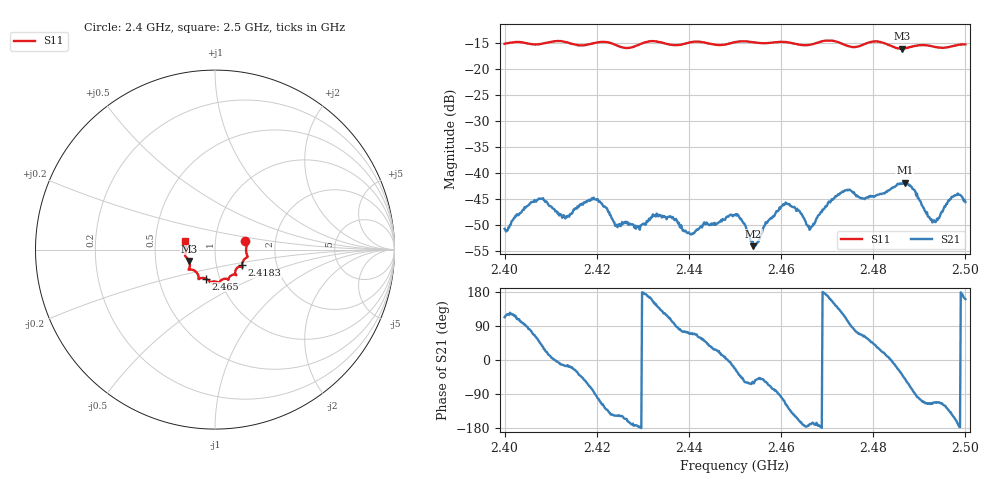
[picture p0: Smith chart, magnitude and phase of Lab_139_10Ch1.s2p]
# Hz S RI R 50
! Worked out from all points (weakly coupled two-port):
!   601 points, 2.4 GHz to 2.5 GHz, reference 50 ohm
!   highest |S21| = -41.89 dB at 2.4868 GHz (marker M1); lowest = -54.1 dB at 2.454 GHz (marker M2)
!   lowest |S11| = -16.1 dB at 2.4862 GHz (marker M3), VSWR 1.37, Z = 37.2 - j4.82 ohm
!   |S11| at or under -10 dB: start of sweep to end of sweep
!   S12 and S22 are empty: the file has one direction only
!   S11 on the Smith chart (normalised r, x): 2.4 GHz: 1.40, +0.14; 2.4183 GHz: 1.33, -0.24; 2.465 GHz: 0.86, -0.28; 2.5 GHz: 0.71, +0.07
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2.4e9  0.1688 0.0469  -0.00113 0.00267  0 0  0 0
2.4075e9  0.1734 -0.00979  0.00373 0.00428  0 0  0 0
2.413e9  0.1786 -0.0432  0.00362 -0.000984  0 0  0 0
2.416667e9  0.1546 -0.0681  0.00362 -0.00351  0 0  0 0
2.418333e9  0.1501 -0.0868  0.00198 -0.00515  0 0  0 0
2.420667e9  0.1523 -0.0996  -0.00176 -0.00502  0 0  0 0
2.4245e9  0.1385 -0.0952  -0.0025 -0.00165  0 0  0 0
2.433333e9  0.1175 -0.1409  -0.0029 0.00248  0 0  0 0
2.440667e9  0.0754 -0.166  0.000854 0.00246  0 0  0 0
2.45e9  0.0261 -0.1801  0.00362 -0.0015  0 0  0 0
2.454e9  0.0145 -0.1808  0.000934 -0.00174  0 0  0 0
2.460667e9  -0.0284 -0.1805  -0.00145 -0.00469  0 0  0 0
2.465e9  -0.0525 -0.1615  -0.00362 -0.000485  0 0  0 0
2.466667e9  -0.0713 -0.1577  -0.00297 -0.000678  0 0  0 0
2.473667e9  -0.0927 -0.1453  -0.00303 0.00597  0 0  0 0
2.477833e9  -0.1312 -0.1116  0.00263 0.00502  0 0  0 0
2.483333e9  -0.1411 -0.0967  0.00674 0.000893  0 0  0 0
2.486167e9  -0.1439 -0.0632  0.00624 -0.00475  0 0  0 0
2.486833e9  -0.148 -0.0561  0.0053 -0.00605  0 0  0 0
2.493e9  -0.1639 -0.0204  -0.00128 -0.00313  0 0  0 0
2.4975e9  -0.1647 0.0313  -0.00524 -0.00294  0 0  0 0
2.5e9  -0.1667 0.0466  -0.00494 0.00173  0 0  0 0
